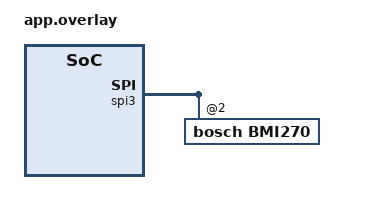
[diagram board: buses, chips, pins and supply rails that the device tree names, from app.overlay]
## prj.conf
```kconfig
# Console and sensor framework
CONFIG_STDOUT_CONSOLE=y
CONFIG_SENSOR=y

# SPI is needed for BMI270 on SPI3
CONFIG_SPI=y

# Disable I2C for BMI270 if it's not being used
CONFIG_I2C=n

# Enable BMI270 driver over SPI
CONFIG_BMI270=y
CONFIG_BMI270_TRIGGER_GLOBAL_THREAD=y
# Optional alternative:
# CONFIG_BMI270_TRIGGER_OWN_THREAD=y

# Optional if using Zephyr device tree alias like accel0
CONFIG_SENSOR_INIT_PRIORITY=90
```

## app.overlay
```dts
/*
 * Copyright (c) 2021 Bosch Sensortec GmbH
 *
 * SPDX-License-Identifier: Apache-2.0
 */

&spi3 {

    bmi270: bmi270@2 {
        compatible = "bosch,bmi270";
        status = "okay";
    };
};
```

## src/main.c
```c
/*
 * Copyright (c) 2021 Bosch Sensortec GmbH
 *
 * SPDX-License-Identifier: Apache-2.0
 */

#include <zephyr/kernel.h>
#include <zephyr/device.h>
#include <zephyr/drivers/sensor.h>
#include <stdio.h>

int main(void)
{
	const struct device *const dev = DEVICE_DT_GET_ONE(bosch_bmi270);
	struct sensor_value acc[3], gyr[3];
	struct sensor_value full_scale, sampling_freq, oversampling;

	if (!device_is_ready(dev)) {
		printf("Device %s is not ready\n", dev->name);
		return 0;
	}

	printf("Device %p name is %s\n", dev, dev->name);

	/* Setting scale in G, due to loss of precision if the SI unit m/s^2
	 * is used
	 */
	full_scale.val1 = 2;            /* G */
	full_scale.val2 = 0;
	sampling_freq.val1 = 100;       /* Hz. Performance mode */
	sampling_freq.val2 = 0;
	oversampling.val1 = 1;          /* Normal mode */
	oversampling.val2 = 0;

	sensor_attr_set(dev, SENSOR_CHAN_ACCEL_XYZ, SENSOR_ATTR_FULL_SCALE,
			&full_scale);
	sensor_attr_set(dev, SENSOR_CHAN_ACCEL_XYZ, SENSOR_ATTR_OVERSAMPLING,
			&oversampling);
	/* Set sampling frequency last as this also sets the appropriate
	 * power mode. If already sampling, change to 0.0Hz before changing
	 * other attributes
	 */
	sensor_attr_set(dev, SENSOR_CHAN_ACCEL_XYZ,
			SENSOR_ATTR_SAMPLING_FREQUENCY,
			&sampling_freq);


	/* Setting scale in degrees/s to match the sensor scale */
	full_scale.val1 = 500;          /* dps */
	full_scale.val2 = 0;
	sampling_freq.val1 = 100;       /* Hz. Performance mode */
	sampling_freq.val2 = 0;
	oversampling.val1 = 1;          /* Normal mode */
	oversampling.val2 = 0;

	sensor_attr_set(dev, SENSOR_CHAN_GYRO_XYZ, SENSOR_ATTR_FULL_SCALE,
			&full_scale);
	sensor_attr_set(dev, SENSOR_CHAN_GYRO_XYZ, SENSOR_ATTR_OVERSAMPLING,
			&oversampling);
	/* Set sampling frequency last as this also sets the appropriate
	 * power mode. If already sampling, change sampling frequency to
	 * 0.0Hz before changing other attributes
	 */
	sensor_attr_set(dev, SENSOR_CHAN_GYRO_XYZ,
			SENSOR_ATTR_SAMPLING_FREQUENCY,
			&sampling_freq);

	while (1) {
		/* 10ms period, 100Hz Sampling frequency */
		k_msleep(10);

		sensor_sample_fetch(dev);

		sensor_channel_get(dev, SENSOR_CHAN_ACCEL_XYZ, acc);
		sensor_channel_get(dev, SENSOR_CHAN_GYRO_XYZ, gyr);

		printf("AX: %d.%06d; AY: %d.%06d; AZ: %d.%06d; "
		       "GX: %d.%06d; GY: %d.%06d; GZ: %d.%06d;\n",
		       acc[0].val1, acc[0].val2,
		       acc[1].val1, acc[1].val2,
		       acc[2].val1, acc[2].val2,
		       gyr[0].val1, gyr[0].val2,
		       gyr[1].val1, gyr[1].val2,
		       gyr[2].val1, gyr[2].val2);
	}
	return 0;
}
```
